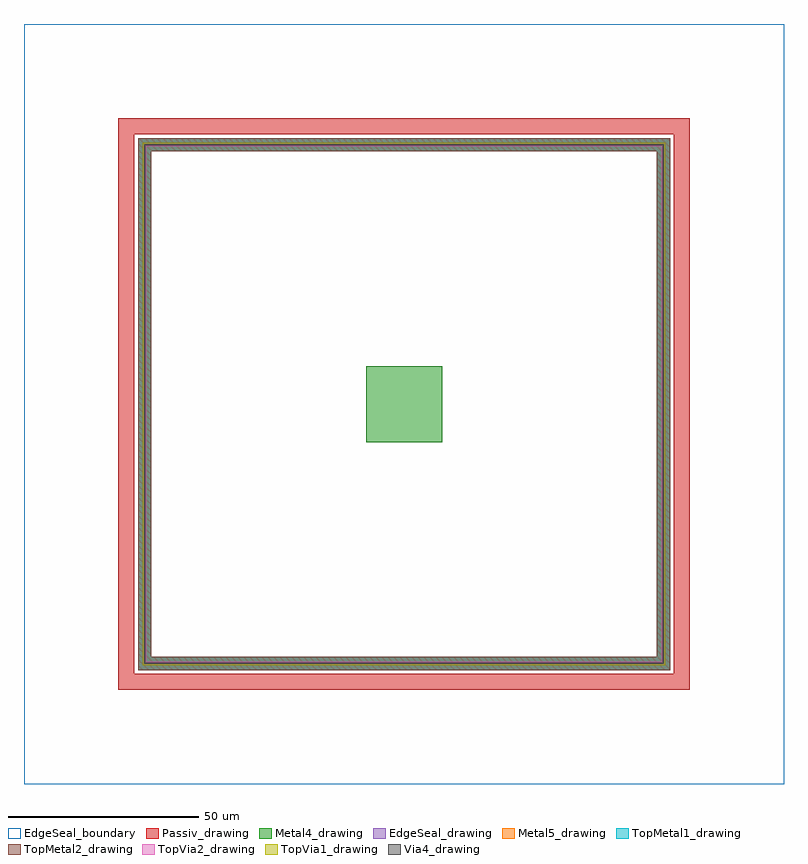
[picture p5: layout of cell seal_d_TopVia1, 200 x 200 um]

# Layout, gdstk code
import gdstk
lib = gdstk.Library(unit=1e-6, precision=1e-09)
def R(c, l, rs):  # rectangles x0, y0, x1, y1
    for r in rs: c.add(gdstk.rectangle(r[:2], r[2:], *l))
def P(c, l, *ps):  # polygons
    for p in ps: c.add(gdstk.Polygon(p, *l))
Passiv_drawing = (9, 0)
EdgeSeal_drawing = (39, 0)
EdgeSeal_boundary = (39, 4)
Metal4_drawing = (50, 0)
Via4_drawing = (66, 0)
Metal5_drawing = (67, 0)
TopVia1_drawing = (125, 0)
TopMetal1_drawing = (126, 0)
TopVia2_drawing = (133, 0)
TopMetal2_drawing = (134, 0)

seal_d_topvia1 = lib.new_cell('seal_d_TopVia1')
P(seal_d_topvia1, Passiv_drawing, [(24.8,24.8),(24.8,171),(29,171),(29,29),(171,29),(171,171),(24.8,171),(24.8,175.2),(175.2,175.2),(175.2,24.8)])
P(seal_d_topvia1, EdgeSeal_drawing, [(30,30),(30,166.5),(33.5,166.5),(33.5,33.5),(166.5,33.5),(166.5,166.5),(30,166.5),(30,170),(170,170),(170,30)])
R(seal_d_topvia1, EdgeSeal_boundary, [(0,0,200,200)])
R(seal_d_topvia1, Metal4_drawing, [(90,90,110,110)])
P(seal_d_topvia1, Metal4_drawing, [(30,30),(30,166.5),(33.5,166.5),(33.5,33.5),(166.5,33.5),(166.5,166.5),(30,166.5),(30,170),(170,170),(170,30)])
P(seal_d_topvia1, Via4_drawing, [(31.655,31.655),(31.655,168.155),(31.845,168.155),(31.845,31.845),(168.155,31.845),(168.155,168.155),(31.655,168.155),(31.655,168.345),(168.345,168.345),(168.345,31.655)])
P(seal_d_topvia1, Metal5_drawing, [(30,30),(30,166.5),(33.5,166.5),(33.5,33.5),(166.5,33.5),(166.5,166.5),(30,166.5),(30,170),(170,170),(170,30)])
P(seal_d_topvia1, TopVia1_drawing, [(31.295,31.295),(31.295,168.285),(31.715,168.285),(31.715,31.715),(168.285,31.715),(168.285,168.285),(31.295,168.285),(31.295,168.705),(168.705,168.705),(168.705,31.295)])
P(seal_d_topvia1, TopMetal1_drawing, [(30,30),(30,166.5),(33.5,166.5),(33.5,33.5),(166.5,33.5),(166.5,166.5),(30,166.5),(30,170),(170,170),(170,30)])
P(seal_d_topvia1, TopVia2_drawing, [(31.3,31.3),(31.3,167.8),(32.2,167.8),(32.2,32.2),(167.8,32.2),(167.8,167.8),(31.3,167.8),(31.3,168.7),(168.7,168.7),(168.7,31.3)])
P(seal_d_topvia1, TopMetal2_drawing, [(30,30),(30,166.5),(33.5,166.5),(33.5,33.5),(166.5,33.5),(166.5,166.5),(30,166.5),(30,170),(170,170),(170,30)])

lib.write_gds('seal_d_TopVia1.gds')
